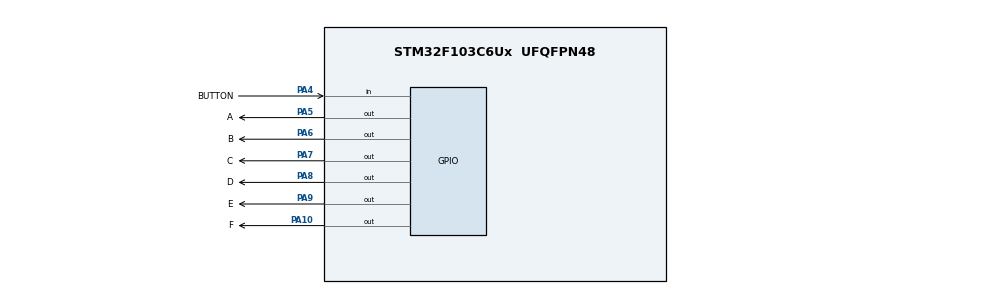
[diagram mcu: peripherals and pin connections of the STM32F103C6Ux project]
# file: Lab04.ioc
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Mcu.Family=STM32F1
Mcu.Name=STM32F103C6Ux
Mcu.Package=UFQFPN48
NVIC.PriorityGroup=NVIC_PRIORITYGROUP_4
NVIC.TIM2_IRQn=true\:0\:0\:false\:false\:true\:true\:true
PA10.GPIO_Label=F
PA10.Signal=GPIO_Output
PA13.Mode=Serial_Wire
PA13.Signal=SYS_JTMS-SWDIO
PA14.Mode=Serial_Wire
PA14.Signal=SYS_JTCK-SWCLK
PA4.GPIO_Label=BUTTON
PA4.GPIO_PuPd=GPIO_PULLUP
PA4.Signal=GPIO_Input
PA5.GPIO_Label=A
PA5.Signal=GPIO_Output
PA6.GPIO_Label=B
PA6.Signal=GPIO_Output
PA7.GPIO_Label=C
PA7.Signal=GPIO_Output
PA8.GPIO_Label=D
PA8.Signal=GPIO_Output
PA9.GPIO_Label=E
PA9.Signal=GPIO_Output
ProjectManager.HeapSize=0x200
ProjectManager.StackSize=0x400
ProjectManager.TargetToolchain=STM32CubeIDE
RCC.APB1Freq_Value=8000000
RCC.APB2Freq_Value=8000000
TIM2.Period=10
TIM2.Prescaler=7999
VP_TIM2_VS_ClockSourceINT.Mode=Internal
board=custom

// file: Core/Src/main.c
/* USER CODE BEGIN Header */
/**
  ******************************************************************************
  * @file           : main.c
  * @brief          : Main program body
  ******************************************************************************
  * @attention
  *
  * <h2><center>&copy; Copyright (c) 2022 STMicroelectronics.
  * All rights reserved.</center></h2>
  *
  * This software component is licensed by ST under BSD 3-Clause license,
  * the "License"; You may not use this file except in compliance with the
  * License. You may obtain a copy of the License at:
  *                        opensource.org/licenses/BSD-3-Clause
  *
  ******************************************************************************
  */
/* USER CODE END Header */
#include "main.h"

/* USER CODE BEGIN Includes */
#include "global.h"
#include "task.h"
#include "button.h"
#include "scheduler.h"
/* USER CODE END Includes */

TIM_HandleTypeDef htim2;

void SystemClock_Config(void);
static void MX_GPIO_Init(void);
static void MX_TIM2_Init(void);

int main(void)
{

  /* MCU Configuration--------------------------------------------------------*/

  /* Reset of all peripherals, Initializes the Flash interface and the Systick. */
  HAL_Init();

  /* USER CODE BEGIN Init */
  SCH_Init();
  /* USER CODE END Init */

  /* Configure the system clock */
  SystemClock_Config();

  /* Initialize all configured peripherals */
  MX_GPIO_Init();
  MX_TIM2_Init();
  /* USER CODE BEGIN 2 */
  HAL_TIM_Base_Start_IT(&htim2);
  SCH_Init();
  HAL_GPIO_WritePin(A_GPIO_Port, A_Pin, GPIO_PIN_RESET);
  HAL_GPIO_WritePin(B_GPIO_Port, B_Pin, GPIO_PIN_RESET);
  HAL_GPIO_WritePin(C_GPIO_Port, C_Pin, GPIO_PIN_RESET);
  HAL_GPIO_WritePin(D_GPIO_Port, D_Pin, GPIO_PIN_RESET);
  HAL_GPIO_WritePin(E_GPIO_Port, E_Pin, GPIO_PIN_SET);
  HAL_GPIO_WritePin(F_GPIO_Port, F_Pin, GPIO_PIN_SET);
  /* USER CODE END 2 */

  /* Infinite loop */
  /* USER CODE BEGIN WHILE */
  SCH_Add_Task(TaskA, 0, 50);
  SCH_Add_Task(TaskB, 1, 100);
  SCH_Add_Task(TaskC, 2, 150);
  SCH_Add_Task(TaskD, 3, 200);
  SCH_Add_Task(TaskE, 250, 0);
  SCH_Add_Task(TaskF, 4, 50);
  while (1)
  {
    /* USER CODE END WHILE */

    /* USER CODE BEGIN 3 */
	  SCH_Dispatch_Tasks();
  }
  /* USER CODE END 3 */
}

void SystemClock_Config(void)
{
  RCC_OscInitTypeDef RCC_OscInitStruct = {0};
  RCC_ClkInitTypeDef RCC_ClkInitStruct = {0};

  /** Initializes the RCC Oscillators according to the specified parameters
  * in the RCC_OscInitTypeDef structure.
  */
  RCC_OscInitStruct.OscillatorType = RCC_OSCILLATORTYPE_HSI;
  RCC_OscInitStruct.HSIState = RCC_HSI_ON;
  RCC_OscInitStruct.HSICalibrationValue = RCC_HSICALIBRATION_DEFAULT;
  RCC_OscInitStruct.PLL.PLLState = RCC_PLL_NONE;
  if (HAL_RCC_OscConfig(&RCC_OscInitStruct) != HAL_OK)
  {
    Error_Handler();
  }
  /** Initializes the CPU, AHB and APB buses clocks
  */
  RCC_ClkInitStruct.ClockType = RCC_CLOCKTYPE_HCLK|RCC_CLOCKTYPE_SYSCLK
                              |RCC_CLOCKTYPE_PCLK1|RCC_CLOCKTYPE_PCLK2;
  RCC_ClkInitStruct.SYSCLKSource = RCC_SYSCLKSOURCE_HSI;
  RCC_ClkInitStruct.AHBCLKDivider = RCC_SYSCLK_DIV1;
  RCC_ClkInitStruct.APB1CLKDivider = RCC_HCLK_DIV1;
  RCC_ClkInitStruct.APB2CLKDivider = RCC_HCLK_DIV1;

  if (HAL_RCC_ClockConfig(&RCC_ClkInitStruct, FLASH_LATENCY_0) != HAL_OK)
  {
    Error_Handler();
  }
}

static void MX_TIM2_Init(void)
{

  TIM_ClockConfigTypeDef sClockSourceConfig = {0};
  TIM_MasterConfigTypeDef sMasterConfig = {0};

  htim2.Instance = TIM2;
  htim2.Init.Prescaler = 7999;
  htim2.Init.CounterMode = TIM_COUNTERMODE_UP;
  htim2.Init.Period = 10;
  htim2.Init.ClockDivision = TIM_CLOCKDIVISION_DIV1;
  htim2.Init.AutoReloadPreload = TIM_AUTORELOAD_PRELOAD_DISABLE;
  if (HAL_TIM_Base_Init(&htim2) != HAL_OK)
  {
    Error_Handler();
  }
  sClockSourceConfig.ClockSource = TIM_CLOCKSOURCE_INTERNAL;
  if (HAL_TIM_ConfigClockSource(&htim2, &sClockSourceConfig) != HAL_OK)
  {
    Error_Handler();
  }
  sMasterConfig.MasterOutputTrigger = TIM_TRGO_RESET;
  sMasterConfig.MasterSlaveMode = TIM_MASTERSLAVEMODE_DISABLE;
  if (HAL_TIMEx_MasterConfigSynchronization(&htim2, &sMasterConfig) != HAL_OK)
  {
    Error_Handler();
  }

}

static void MX_GPIO_Init(void)
{
  GPIO_InitTypeDef GPIO_InitStruct = {0};

  /* GPIO Ports Clock Enable */
  __HAL_RCC_GPIOA_CLK_ENABLE();

  /*Configure GPIO pin Output Level */
  HAL_GPIO_WritePin(GPIOA, A_Pin|B_Pin|C_Pin|D_Pin
                          |E_Pin|F_Pin, GPIO_PIN_RESET);

  /*Configure GPIO pin : BUTTON_Pin */
  GPIO_InitStruct.Pin = BUTTON_Pin;
  GPIO_InitStruct.Mode = GPIO_MODE_INPUT;
  GPIO_InitStruct.Pull = GPIO_PULLUP;
  HAL_GPIO_Init(BUTTON_GPIO_Port, &GPIO_InitStruct);

  /*Configure GPIO pins : A_Pin B_Pin C_Pin D_Pin
                           E_Pin F_Pin */
  GPIO_InitStruct.Pin = A_Pin|B_Pin|C_Pin|D_Pin
                          |E_Pin|F_Pin;
  GPIO_InitStruct.Mode = GPIO_MODE_OUTPUT_PP;
  GPIO_InitStruct.Pull = GPIO_NOPULL;
  GPIO_InitStruct.Speed = GPIO_SPEED_FREQ_LOW;
  HAL_GPIO_Init(GPIOA, &GPIO_InitStruct);

}

/* USER CODE BEGIN 4 */
void HAL_TIM_PeriodElapsedCallback(TIM_HandleTypeDef * htim)
{
	getKeyInput();
	SCH_Update();
}
/* USER CODE END 4 */

void Error_Handler(void)
{
  __disable_irq();
  while (1)
  {
  }
}

/************************ (C) COPYRIGHT STMicroelectronics *****END OF FILE****/
